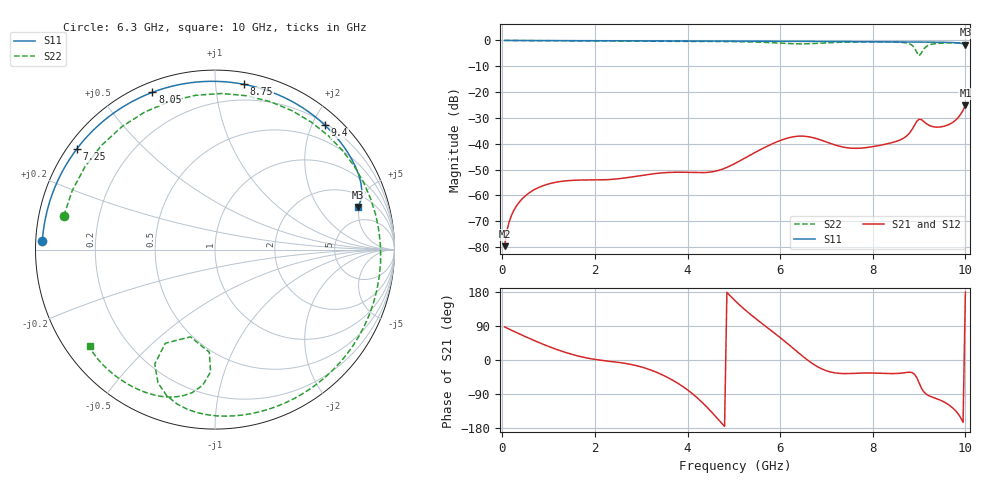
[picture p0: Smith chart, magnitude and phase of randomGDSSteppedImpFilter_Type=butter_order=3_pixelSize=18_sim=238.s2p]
! freq	dB(S11)	phase(S11)	dB(S12)	phase(S12)
!  dB(S21)	phase(S21)	dB(S22)	phase(S22)
!S-par simulation data
#  GHz  S  DB  R 50
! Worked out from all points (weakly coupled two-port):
!   200 points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, 50 MHz to 10 GHz, reference 50 ohm
!   highest |S21| = -25.14 dB at 10 GHz (marker M1); lowest = -79.6 dB at 50 MHz (marker M2)
!   lowest |S11| = -1.6 dB at 10 GHz (marker M3), VSWR 10.87, Z = 158 + j243 ohm
!   |S11| at or under -10 dB: nowhere
!   |S22| runs from -5.9 to 0.0 dB; largest |S21 - S12| = 0
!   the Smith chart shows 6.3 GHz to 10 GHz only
!   S11 on the Smith chart (normalised r, x): 6.3 GHz: 0.02, +0.03; 7.25 GHz: 0.03, +0.33; 8.05 GHz: 0.04, +0.68; 8.75 GHz: 0.08, +1.19; 9.4 GHz: 0.23, +2.20; 10 GHz: 3.17, +4.87
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0.05  -0.00 -1.5  -79.62 87.3  -79.62 87.3  -0.00 -4.3
0.2  -0.01 -6.1  -67.64 78.5  -67.64 78.5  -0.02 -17.2
0.5  -0.02 -15.1  -60.10 61.6  -60.10 61.6  -0.06 -42.5
1.1  -0.04 -33.0  -55.08 31.2  -55.08 31.2  -0.11 -91.5
1.75  -0.07 -52.0  -54.01 7.3  -54.01 7.3  -0.16 -141.5
2.5  -0.09 -73.5  -53.54 -6.1  -53.54 -6.1  -0.20 163.1
3.4  -0.13 -98.7  -51.33 -36.1  -51.33 -36.1  -0.25 96.4
4.35  -0.18 -125.0  -51.14 -116.0  -51.14 -116.0  -0.34 23.6
5.05  -0.22 -144.9  -47.37 153.6  -47.37 153.6  -0.46 -33.6
5.75  -0.28 -165.6  -40.67 83.0  -40.67 83.0  -0.80 -104.9
6.1  -0.31 -176.4  -38.11 49.3  -38.11 49.3  -1.12 -156.1
6.3  -0.33 177.1  -37.24 28.9  -37.24 28.9  -1.28 167.4
6.7  -0.37 163.7  -37.58 -9.6  -37.58 -9.6  -1.20 87.7
6.95  -0.39 154.9  -38.98 -26.1  -38.98 -26.1  -0.96 45.1
7.25  -0.42 143.9  -40.79 -35.0  -40.79 -35.0  -0.73 6.2
8.05  -0.51 111.7  -40.94 -34.5  -40.94 -34.5  -0.54 -59.0
8.35  -0.54 98.5  -39.83 -35.8  -39.83 -35.8  -0.57 -77.3
8.75  -0.59 80.1  -36.68 -32.6  -36.68 -32.6  -1.05 -103.8
8.9  -0.60 73.0  -32.83 -37.4  -32.83 -37.4  -2.85 -117.8
9  -0.61 68.2  -30.46 -60.5  -30.46 -60.5  -5.94 -105.7
9.4  -0.68 48.5  -33.54 -103.0  -33.54 -103.0  -1.14 -112.3
10  -1.60 16.6  -25.14 179.1  -25.14 179.1  -1.09 -142.4
